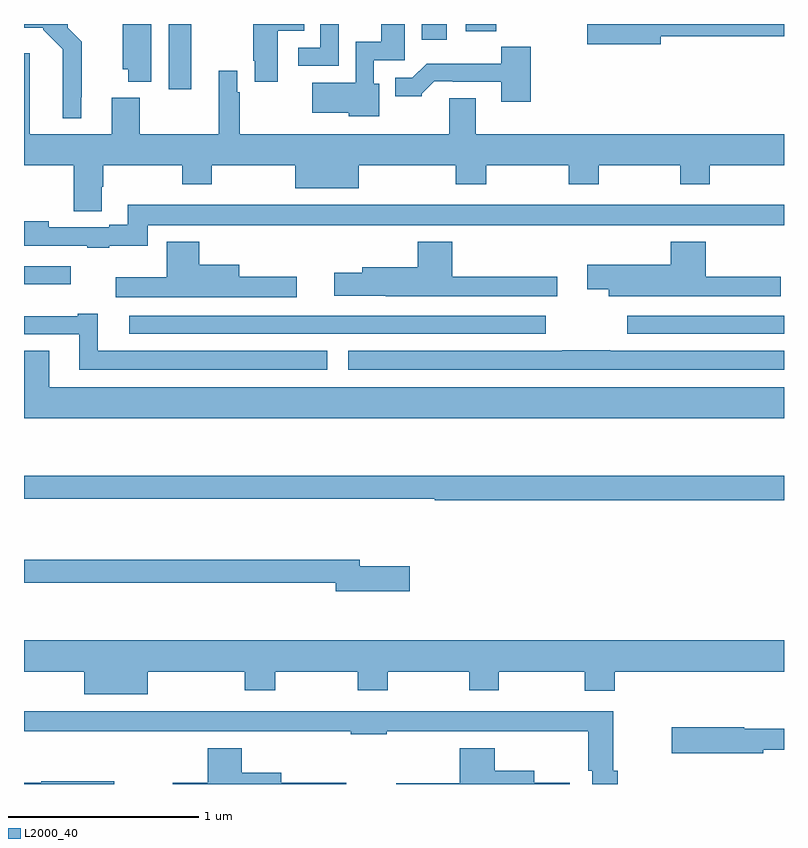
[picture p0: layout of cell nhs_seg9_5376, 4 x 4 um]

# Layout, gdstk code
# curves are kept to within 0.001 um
import gdstk
lib = gdstk.Library(unit=1e-6, precision=1e-09)
def R(c, l, rs):  # rectangles x0, y0, x1, y1
    for r in rs: c.add(gdstk.rectangle(r[:2], r[2:], *l))
def P(c, l, *ps):  # polygons
    for p in ps: c.add(gdstk.Polygon(p, *l))
L2000_40 = (2000, 40)

nhs_seg9_5376 = lib.new_cell('nhs_seg9_5376')
R(nhs_seg9_5376, L2000_40, [(423.555,1192.869,425.746,1192.965), (426.174,1192.869,427,1192.965), (423,1193.129,423.247,1193.226), (423.761,1194.156,423.88,1194.5), (425.093,1194.417,425.224,1194.5), (425.324,1194.461,425.486,1194.5)])
P(nhs_seg9_5376, L2000_40, [(426.352,1194.436),(427,1194.436),(427,1194.5),(425.964,1194.5),(425.964,1194.394),(426.352,1194.394)],
  [(424.336,1194.464),(424.475,1194.464),(424.475,1194.5),(424.207,1194.5),(424.207,1194.307),(424.214,1194.307),(424.214,1194.195),(424.336,1194.195)],
  [(424.87,1194.186),(424.842,1194.186),(424.842,1194.309),(425.005,1194.309),(425.005,1194.5),(424.88,1194.5),(424.88,1194.406),(424.746,1194.406),(424.746,1194.19),(424.518,1194.19),(424.518,1194.032),(424.71,1194.032),(424.71,1194.014),(424.87,1194.014)],
  [(423.301,1194.115),(423.305,1194.115),(423.305,1194.406),(423.231,1194.48),(423.231,1194.5),(423,1194.5),(423,1194.479),(423.102,1194.479),(423.102,1194.47),(423.204,1194.368),(423.203,1194.005),(423.301,1194.005)],
  [(423.67,1194.5),(423.521,1194.5),(423.521,1194.261),(423.548,1194.261),(423.548,1194.197),(423.67,1194.197)],
  [(424.656,1194.5),(424.56,1194.5),(424.56,1194.375),(424.443,1194.375),(424.443,1194.279),(424.656,1194.279)],
  [(425.666,1194.379),(425.511,1194.379),(425.511,1194.292),(425.119,1194.292),(425.043,1194.216),(424.955,1194.216),(424.955,1194.119),(425.094,1194.119),(425.094,1194.134),(425.158,1194.198),(425.257,1194.198),(425.257,1194.195),(425.513,1194.195),(425.513,1194.09),(425.666,1194.09)],
  [(423.409,1193.644),(423.417,1193.644),(423.417,1193.756),(423.832,1193.756),(423.832,1193.657),(423.987,1193.657),(423.987,1193.756),(424.427,1193.756),(424.427,1193.636),(424.762,1193.636),(424.762,1193.756),(425.273,1193.756),(425.273,1193.657),(425.433,1193.657),(425.433,1193.756),(425.866,1193.756),(425.866,1193.657),(426.024,1193.657),(426.024,1193.756),(426.454,1193.756),(426.454,1193.657),(426.609,1193.657),(426.609,1193.756),(427,1193.756),(427,1193.92),(425.377,1193.92),(425.377,1194.11),(425.237,1194.11),(425.237,1193.92),(424.135,1193.92),(424.135,1194.14),(424.122,1194.14),(424.122,1194.253),(424.025,1194.253),(424.025,1193.92),(423.609,1193.92),(423.609,1194.112),(423.461,1194.112),(423.461,1193.92),(423.031,1193.92),(423.031,1194.346),(423,1194.346),(423,1193.756),(423.262,1193.756),(423.262,1193.515),(423.409,1193.515)],
  [(423.448,1193.333),(423.652,1193.333),(423.652,1193.441),(427,1193.441),(427,1193.548),(423.545,1193.548),(423.545,1193.443),(423.449,1193.443),(423.449,1193.43),(423.129,1193.43),(423.129,1193.463),(423,1193.463),(423,1193.334),(423.334,1193.334),(423.334,1193.322),(423.448,1193.322)],
  [(424.435,1193.17),(424.132,1193.17),(424.132,1193.233),(423.923,1193.233),(423.923,1193.353),(423.752,1193.353),(423.752,1193.167),(423.483,1193.167),(423.483,1193.063),(424.435,1193.063)],
  [(425.806,1193.17),(425.255,1193.17),(425.255,1193.353),(425.072,1193.353),(425.072,1193.221),(424.781,1193.221),(424.781,1193.191),(424.632,1193.191),(424.632,1193.069),(424.905,1193.069),(424.905,1193.066),(425.806,1193.066)],
  [(426.982,1193.17),(426.587,1193.17),(426.587,1193.353),(426.404,1193.353),(426.404,1193.233),(425.964,1193.233),(425.964,1193.104),(426.077,1193.104),(426.077,1193.066),(426.982,1193.066)],
  [(424.597,1192.78),(423.388,1192.78),(423.388,1192.975),(423.284,1192.975),(423.284,1192.963),(423,1192.963),(423,1192.866),(423.29,1192.866),(423.29,1192.679),(424.597,1192.679)],
  [(427,1192.78),(426.086,1192.78),(426.086,1192.783),(425.833,1192.783),(425.833,1192.78),(424.707,1192.78),(424.707,1192.679),(427,1192.679)],
  [(427,1192.588),(423.133,1192.588),(423.133,1192.781),(423,1192.781),(423,1192.424),(427,1192.424)],
  [(427,1192.123),(423,1192.123),(423,1192.002),(425.162,1192.002),(425.162,1191.994),(427,1191.994)],
  [(425.029,1191.645),(424.768,1191.645),(424.768,1191.679),(423,1191.679),(423,1191.558),(424.64,1191.558),(424.64,1191.515),(425.029,1191.515)],
  [(423.652,1191.092),(424.163,1191.092),(424.163,1190.993),(424.323,1190.993),(424.323,1191.092),(424.756,1191.092),(424.756,1190.993),(424.914,1190.993),(424.914,1191.092),(425.344,1191.092),(425.344,1190.993),(425.499,1190.993),(425.499,1191.092),(425.95,1191.092),(425.95,1190.99),(426.11,1190.99),(426.11,1191.092),(427,1191.092),(427,1191.256),(423,1191.256),(423,1191.092),(423.317,1191.092),(423.317,1190.972),(423.652,1190.972)],
  [(426.125,1190.571),(426.1,1190.571),(426.1,1190.884),(423,1190.884),(423,1190.777),(424.719,1190.777),(424.719,1190.762),(424.91,1190.762),(424.91,1190.777),(425.971,1190.777),(425.971,1190.571),(425.991,1190.571),(425.991,1190.5),(426.125,1190.5)],
  [(426.892,1190.681),(427,1190.681),(427,1190.791),(426.792,1190.791),(426.792,1190.799),(426.408,1190.799),(426.408,1190.662),(426.892,1190.662)],
  [(425.872,1190.506),(425.686,1190.506),(425.686,1190.569),(425.477,1190.569),(425.477,1190.689),(425.294,1190.689),(425.294,1190.504),(424.959,1190.504),(424.959,1190.5),(425.872,1190.5)],
  [(424.696,1190.506),(424.354,1190.506),(424.354,1190.56),(424.145,1190.56),(424.145,1190.689),(423.967,1190.689),(423.967,1190.506),(423.783,1190.506),(423.783,1190.5),(424.696,1190.5)],
  [(423.475,1190.515),(423.09,1190.515),(423.09,1190.506),(423,1190.506),(423,1190.5),(423.475,1190.5)])

lib.write_gds('nhs_seg9_5376.gds')
